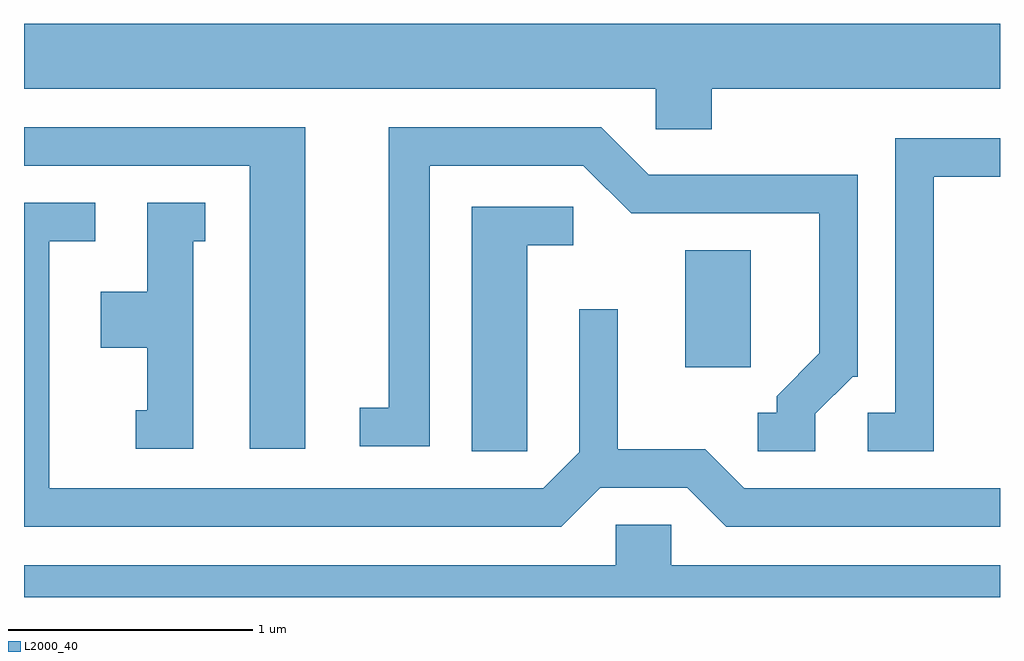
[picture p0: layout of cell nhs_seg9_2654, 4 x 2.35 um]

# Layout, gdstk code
import gdstk
lib = gdstk.Library(unit=1e-6, precision=1e-09)
def R(c, l, rs):  # rectangles x0, y0, x1, y1
    for r in rs: c.add(gdstk.rectangle(r[:2], r[2:], *l))
def P(c, l, *ps):  # polygons
    for p in ps: c.add(gdstk.Polygon(p, *l))
L2000_40 = (2000, 40)

nhs_seg9_2654 = lib.new_cell('nhs_seg9_2654')
R(nhs_seg9_2654, L2000_40, [(266.321,1957.376,266.589,1957.854)])
P(nhs_seg9_2654, L2000_40, [(266.429,1958.516),(267.611,1958.516),(267.611,1958.784),(263.611,1958.784),(263.611,1958.516),(266.201,1958.516),(266.201,1958.351),(266.429,1958.351)],
  [(266.854,1957.184),(267.007,1957.336),(267.029,1957.336),(267.029,1958.164),(266.172,1958.164),(265.977,1958.359),(265.106,1958.359),(265.106,1957.209),(264.988,1957.209),(264.988,1957.051),(265.274,1957.051),(265.274,1958.201),(265.904,1958.201),(266.099,1958.006),(266.871,1958.006),(266.871,1957.432),(266.696,1957.257),(266.696,1957.189),(266.618,1957.189),(266.618,1957.031),(266.854,1957.031)],
  [(264.764,1958.359),(263.611,1958.359),(263.611,1958.201),(264.536,1958.201),(264.536,1957.041),(264.764,1957.041)],
  [(267.339,1958.156),(267.611,1958.156),(267.611,1958.314),(267.181,1958.314),(267.181,1957.189),(267.068,1957.189),(267.068,1957.031),(267.339,1957.031)],
  [(265.972,1956.881),(266.329,1956.881),(266.489,1956.721),(267.611,1956.721),(267.611,1956.879),(266.562,1956.879),(266.402,1957.039),(266.044,1957.039),(266.044,1957.613),(265.886,1957.613),(265.886,1957.027),(265.739,1956.879),(263.714,1956.879),(263.714,1957.891),(263.903,1957.891),(263.903,1958.049),(263.611,1958.049),(263.611,1956.721),(265.812,1956.721)],
  [(264.304,1957.891),(264.353,1957.891),(264.353,1958.049),(264.116,1958.049),(264.116,1957.684),(263.926,1957.684),(263.926,1957.456),(264.116,1957.456),(264.116,1957.199),(264.068,1957.199),(264.068,1957.041),(264.304,1957.041)],
  [(265.674,1957.876),(265.863,1957.876),(265.863,1958.034),(265.446,1958.034),(265.446,1957.031),(265.674,1957.031)],
  [(267.611,1956.564),(266.264,1956.564),(266.264,1956.729),(266.036,1956.729),(266.036,1956.564),(263.611,1956.564),(263.611,1956.432),(267.611,1956.432)])

lib.write_gds('nhs_seg9_2654.gds')
